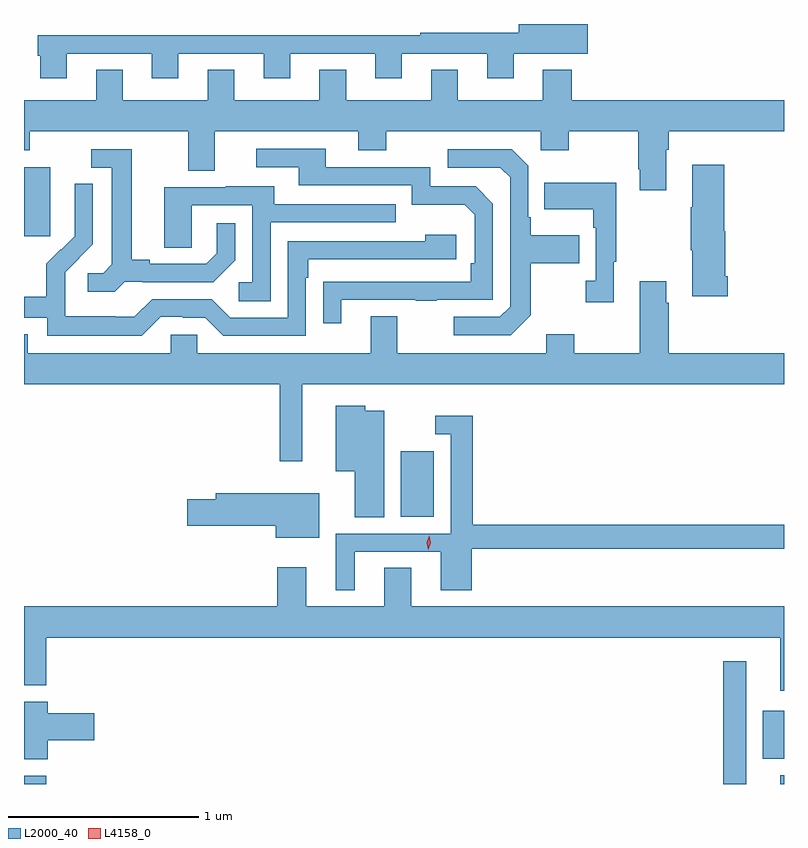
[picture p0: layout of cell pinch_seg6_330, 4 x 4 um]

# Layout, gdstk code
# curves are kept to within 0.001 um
import gdstk
lib = gdstk.Library(unit=1e-6, precision=1e-09)
def R(c, l, rs):  # rectangles x0, y0, x1, y1
    for r in rs: c.add(gdstk.rectangle(r[:2], r[2:], *l))
def P(c, l, *ps):  # polygons
    for p in ps: c.add(gdstk.Polygon(p, *l))
L2000_40 = (2000, 40)
L4158_0 = (4158, 0)

pinch_seg6_330 = lib.new_cell('pinch_seg6_330')
R(pinch_seg6_330, L2000_40, [(756.106,943.901,756.224,943.945), (759.786,943.901,759.907,944.548), (760.085,943.901,760.106,943.948), (759.995,944.033,760.106,944.287), (758.09,945.308,758.263,945.652), (756.106,946.785,756.244,947.146)])
P(pinch_seg6_330, L2000_40, [(756.331,947.745),(756.779,947.745),(756.779,947.616),(756.919,947.616),(756.919,947.745),(757.367,947.745),(757.367,947.616),(757.507,947.616),(757.507,947.745),(757.955,947.745),(757.955,947.616),(758.095,947.616),(758.095,947.745),(758.543,947.745),(758.543,947.616),(758.683,947.616),(758.683,947.744),(759.073,947.744),(759.073,947.901),(758.711,947.901),(758.711,947.854),(758.191,947.854),(758.191,947.841),(756.179,947.841),(756.179,947.733),(756.191,947.733),(756.191,947.616),(756.331,947.616)],
  [(757.801,947.66),(757.661,947.66),(757.661,947.5),(757.213,947.5),(757.213,947.66),(757.073,947.66),(757.073,947.5),(756.625,947.5),(756.625,947.66),(756.485,947.66),(756.485,947.5),(756.106,947.5),(756.106,947.237),(756.135,947.237),(756.135,947.336),(756.971,947.336),(756.971,947.128),(757.111,947.128),(757.111,947.336),(757.865,947.336),(757.865,947.237),(758.013,947.237),(758.013,947.336),(758.826,947.336),(758.826,947.237),(758.973,947.237),(758.973,947.336),(759.34,947.336),(759.34,947.137),(759.347,947.137),(759.347,947.025),(759.487,947.025),(759.487,947.24),(759.5,947.24),(759.5,947.336),(760.106,947.336),(760.106,947.5),(758.99,947.5),(758.99,947.659),(758.837,947.659),(758.837,947.5),(758.389,947.5),(758.389,947.66),(758.249,947.66),(758.249,947.5),(757.801,947.5)],
  [(757.777,946.449),(758.167,946.449),(758.167,946.444),(758.279,946.444),(758.279,946.449),(758.574,946.449),(758.574,946.956),(758.484,947.046),(758.244,947.046),(758.244,947.148),(757.693,947.148),(757.693,947.244),(757.329,947.244),(757.329,947.148),(757.553,947.148),(757.553,947.052),(758.148,947.052),(758.148,946.949),(758.425,946.949),(758.478,946.896),(758.478,946.642),(758.458,946.642),(758.458,946.545),(757.681,946.544),(757.681,946.326),(757.777,946.326)],
  [(758.773,946.369),(758.773,946.642),(759.029,946.642),(759.029,946.789),(758.773,946.789),(758.773,946.885),(758.76,946.885),(758.76,947.154),(758.673,947.241),(758.337,947.241),(758.337,947.145),(758.613,947.145),(758.664,947.094),(758.664,946.413),(758.61,946.359),(758.367,946.359),(758.367,946.263),(758.667,946.263)],
  [(756.636,946.545),(756.73,946.545),(756.73,946.542),(757.102,946.542),(757.218,946.658),(757.218,946.852),(757.121,946.852),(757.121,946.695),(757.064,946.638),(756.769,946.638),(756.769,946.661),(756.673,946.661),(756.673,947.241),(756.459,947.241),(756.459,947.145),(756.569,947.145),(756.569,946.637),(756.522,946.59),(756.441,946.59),(756.441,946.493),(756.584,946.493)],
  [(759.809,946.573),(759.796,946.573),(759.796,946.809),(759.791,946.809),(759.791,947.161),(759.623,947.161),(759.623,946.937),(759.616,946.937),(759.616,946.709),(759.623,946.709),(759.623,946.469),(759.809,946.469)],
  [(759.211,946.649),(759.223,946.649),(759.223,947.065),(758.845,947.065),(758.845,946.925),(759.102,946.925),(759.102,946.829),(759.114,946.829),(759.114,946.55),(759.063,946.55),(759.063,946.437),(759.211,946.437)],
  [(756.825,946.359),(756.941,946.359),(756.941,946.356),(757.059,946.356),(757.155,946.26),(757.59,946.26),(757.59,946.565),(757.603,946.565),(757.603,946.662),(758.38,946.662),(758.38,946.792),(758.219,946.792),(758.219,946.758),(757.494,946.758),(757.494,946.356),(757.191,946.356),(757.095,946.452),(756.78,946.452),(756.687,946.359),(756.587,946.359),(756.587,946.363),(756.324,946.363),(756.324,946.497),(756.322,946.497),(756.322,946.594),(756.468,946.742),(756.468,947.06),(756.372,947.06),(756.372,946.906),(756.374,946.906),(756.374,946.784),(756.303,946.713),(756.3,946.716),(756.223,946.639),(756.223,946.465),(756.106,946.465),(756.106,946.356),(756.228,946.356),(756.228,946.259),(756.725,946.259)],
  [(757.404,946.857),(758.063,946.857),(758.063,946.953),(757.423,946.953),(757.423,947.047),(757.169,947.047),(757.169,947.043),(756.845,947.043),(756.845,946.723),(756.99,946.723),(756.99,946.947),(757.308,946.947),(757.308,946.542),(757.236,946.542),(757.236,946.441),(757.404,946.441)],
  [(757.57,946.004),(760.106,946.004),(760.106,946.168),(759.5,946.168),(759.5,946.433),(759.487,946.433),(759.487,946.546),(759.347,946.546),(759.347,946.168),(759.003,946.168),(759.003,946.267),(758.855,946.267),(758.855,946.168),(758.071,946.168),(758.071,946.363),(757.931,946.363),(757.931,946.168),(757.017,946.168),(757.017,946.266),(756.879,946.266),(756.879,946.168),(756.127,946.168),(756.127,946.267),(756.106,946.267),(756.106,946.004),(757.453,946.004),(757.453,945.6),(757.57,945.6)],
  [(758.002,945.865),(757.902,945.865),(757.902,945.892),(757.748,945.892),(757.748,945.548),(757.847,945.548),(757.847,945.304),(758.002,945.304)],
  [(757.846,945.123),(758.3,945.123),(758.3,944.922),(758.462,944.922),(758.462,945.138),(760.106,945.138),(760.106,945.266),(758.468,945.266),(758.468,945.838),(758.271,945.838),(758.271,945.741),(758.352,945.741),(758.352,945.219),(757.748,945.219),(757.748,944.922),(757.846,944.922)],
  [(757.66,945.431),(757.115,945.431),(757.115,945.401),(756.966,945.401),(756.966,945.259),(757.43,945.259),(757.43,945.197),(757.66,945.197)],
  [(760.106,944.836),(758.143,944.836),(758.143,945.038),(758.003,945.038),(758.003,944.836),(757.591,944.836),(757.591,945.043),(757.439,945.043),(757.439,944.836),(756.106,944.836),(756.106,944.42),(756.224,944.42),(756.224,944.672),(760.085,944.672),(760.085,944.391),(760.106,944.391)],
  [(756.232,944.132),(756.475,944.132),(756.475,944.274),(756.232,944.274),(756.232,944.335),(756.106,944.335),(756.106,944.03),(756.232,944.03)])
P(pinch_seg6_330, L4158_0, [(758.234,945.135),(758.234,945.135),(758.226,945.171),(758.238,945.207),(758.238,945.207),(758.239,945.207),(758.246,945.17),(758.234,945.135)])

lib.write_gds('pinch_seg6_330.gds')
